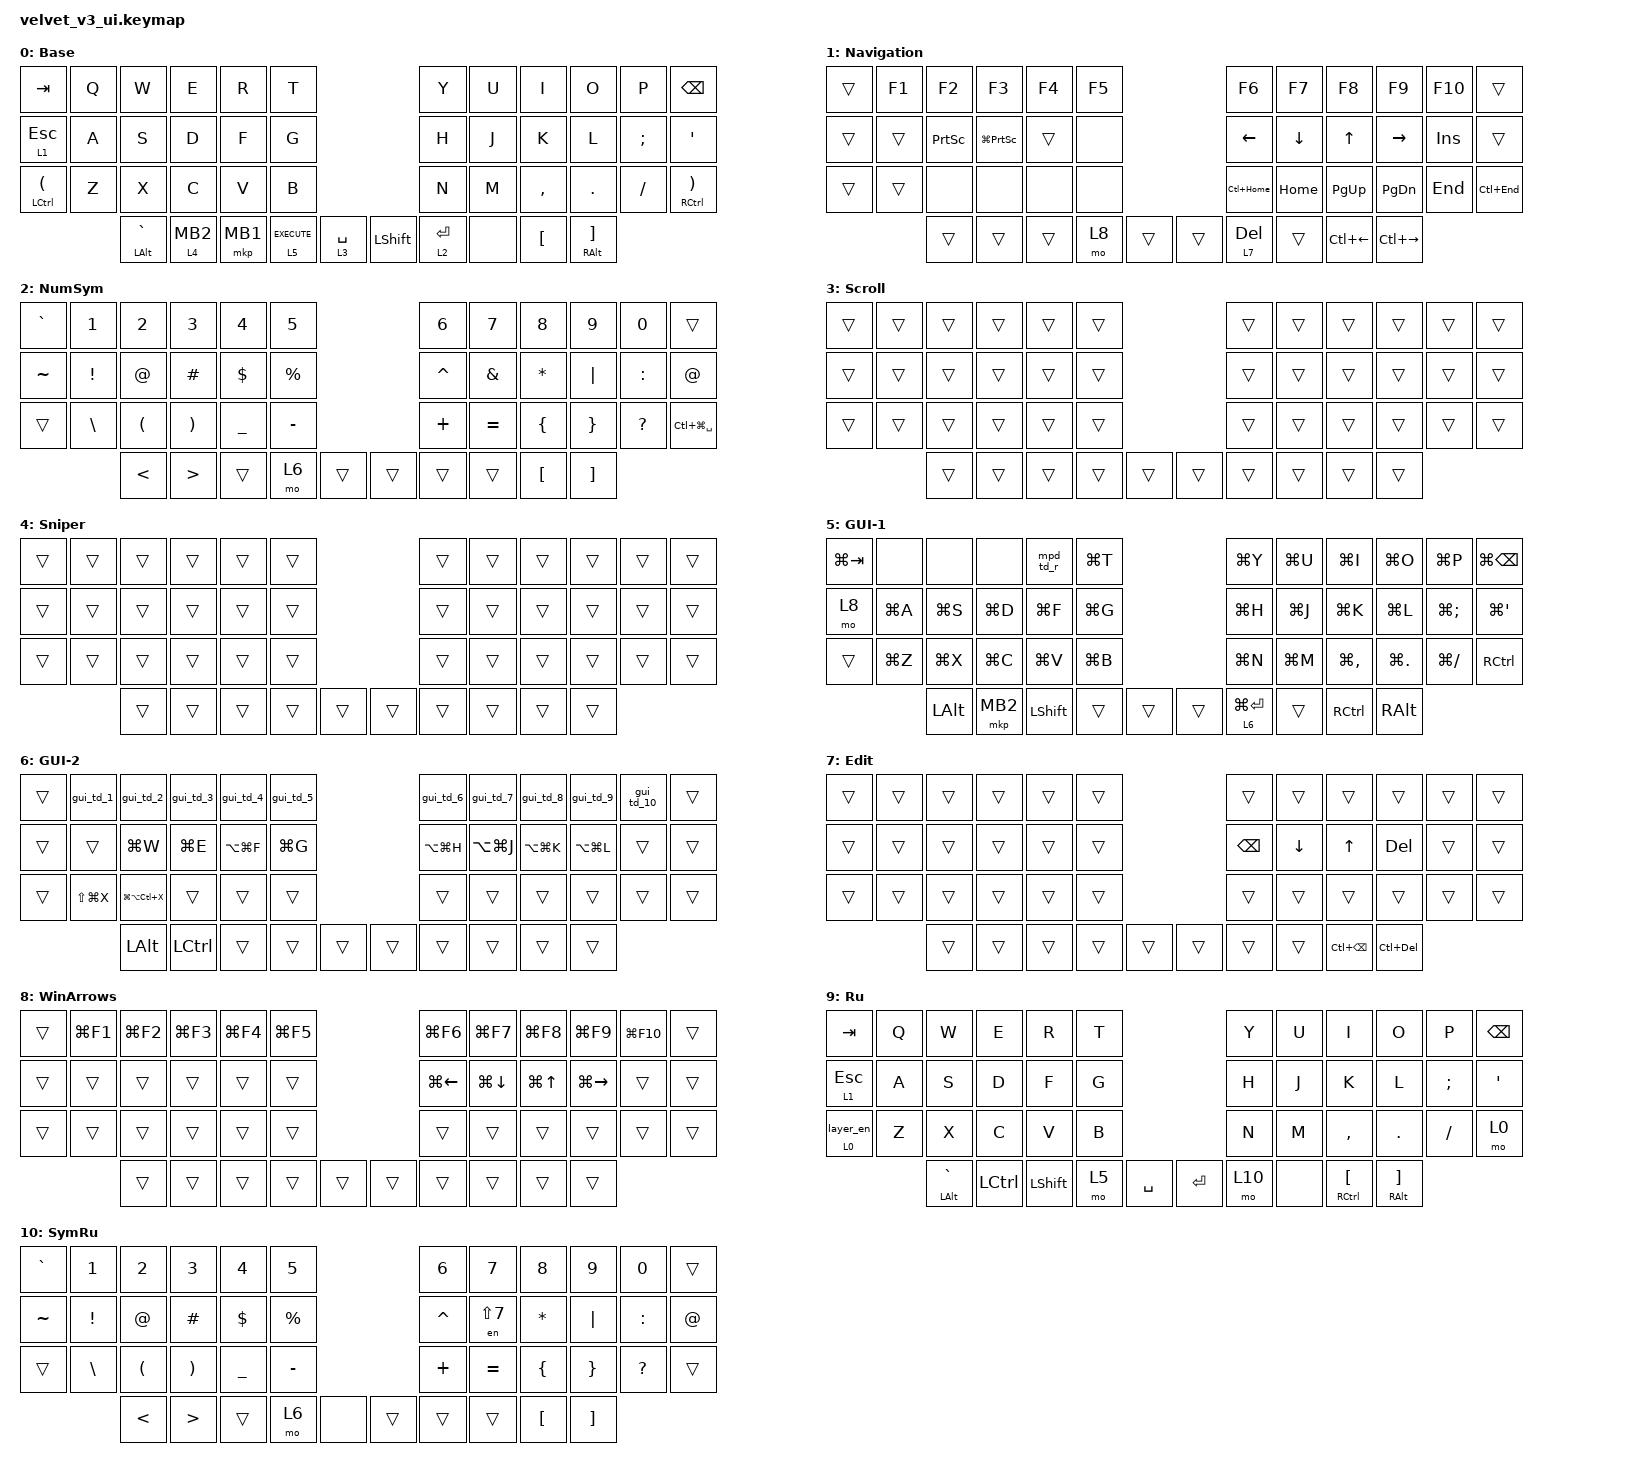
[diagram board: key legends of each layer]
#include "keys_ru.h"
#include <dt-bindings/zmk/input_transform.h>
#include <input/processors.dtsi>
#include <zephyr/dt-bindings/input/input-event-codes.h>
#include <behaviors.dtsi>
#include <dt-bindings/zmk/keys.h>
#include <dt-bindings/zmk/pointing.h>

&mt {
    quick-tap-ms = <200>;
    hold-while-undecided;
    require-prior-idle-ms = <200>;
};

&lt {
    quick-tap-ms = <200>;
    flavor = "hold-preferred";
    hold-while-undecided;
};

&mmv {
    time-to-max-speed-ms = <120>;
    acceleration-exponent = <4>;
};

/ {
    behaviors {
        cap_sen: cap_sen {
            compatible = "zmk,behavior-hold-tap";
            label = "CAP_SEN";
            bindings = <&mo>, <&mkp>;

            #binding-cells = <2>;
            tapping-term-ms = <150>;
            hold-while-undecided;
        };

        gui_td_1: gui_td_1 {
            compatible = "zmk,behavior-tap-dance";
            label = "GUI_TD_1";
            #binding-cells = <0>;
            bindings = <&kp LG(N1)>, <&kp LA(LG(N1))>;
        };

        gui_td_2: gui_td_2 {
            compatible = "zmk,behavior-tap-dance";
            label = "GUI_TD_2";
            #binding-cells = <0>;
            bindings = <&kp LG(NUMBER_2)>, <&kp LA(LG(NUMBER_2))>;
        };

        gui_td_3: gui_td_3 {
            compatible = "zmk,behavior-tap-dance";
            label = "GUI_TD_3";
            #binding-cells = <0>;
            bindings = <&kp LG(NUMBER_3)>, <&kp LA(LG(NUMBER_3))>;
        };

        gui_td_4: gui_td_4 {
            compatible = "zmk,behavior-tap-dance";
            label = "GUI_TD_4";
            #binding-cells = <0>;
            bindings = <&kp LG(NUMBER_4)>, <&kp LA(LG(NUMBER_4))>;
        };

        gui_td_5: gui_td_5 {
            compatible = "zmk,behavior-tap-dance";
            label = "GUI_TD_5";
            #binding-cells = <0>;
            bindings = <&kp LG(NUMBER_5)>, <&kp LA(LG(NUMBER_5))>;
        };

        gui_td_6: gui_td_6 {
            compatible = "zmk,behavior-tap-dance";
            label = "GUI_TD_6";
            #binding-cells = <0>;
            bindings = <&kp LG(NUMBER_6)>, <&kp LA(LG(NUMBER_6))>;
        };

        gui_td_7: gui_td_7 {
            compatible = "zmk,behavior-tap-dance";
            label = "GUI_TD_7";
            #binding-cells = <0>;
            bindings = <&kp LG(N7)>, <&kp LA(LG(N7))>;
        };

        gui_td_8: gui_td_8 {
            compatible = "zmk,behavior-tap-dance";
            label = "GUI_TD_8";
            #binding-cells = <0>;
            bindings = <&kp LG(N8)>, <&kp LA(LG(N8))>;
        };

        gui_td_9: gui_td_9 {
            compatible = "zmk,behavior-tap-dance";
            label = "GUI_TD_9";
            #binding-cells = <0>;
            bindings = <&kp LG(N9)>, <&kp LG(LA(N9))>;
        };

        gui_td_10: gui_td_10 {
            compatible = "zmk,behavior-tap-dance";
            label = "GUI_TD_10";
            #binding-cells = <0>;
            bindings = <&kp LG(N0)>, <&kp LA(LG(N0))>;
        };

        mpd_td_r: mpd_td_r {
            compatible = "zmk,behavior-tap-dance";
            label = "MPD_TD_R";
            #binding-cells = <0>;
            bindings = <&kp LC(LG(R))>, <&kp LA(LC(LG(R)))>;
        };

        lang_switch_ru: lang_switch_ru {
            compatible = "zmk,behavior-hold-tap";
            label = "LANG_SWITCH_RU";
            bindings = <&mo>, <&layer_ru>;

            #binding-cells = <2>;
            tapping-term-ms = <150>;
        };

        lang_switch_en: lang_switch_en {
            compatible = "zmk,behavior-hold-tap";
            label = "LANG_SWITCH_EN";
            bindings = <&mo>, <&layer_en>;

            #binding-cells = <2>;
            tapping-term-ms = <150>;
        };

        mouse_tap: mouse_tap {
            compatible = "zmk,behavior-hold-tap";
            label = "MOUSE_TAP";
            bindings = <&mo>, <&mkp>;

            #binding-cells = <2>;
            tapping-term-ms = <200>;
            flavor = "hold-preferred";
        };

        mouse_sniper: mouse_sniper {
            compatible = "zmk,behavior-hold-tap";
            label = "MOUSE_SNIPER";
            bindings = <&mo>, <&kp>;

            #binding-cells = <2>;
            tapping-term-ms = <200>;
            flavor = "tap-preferred";
            hold-while-undecided;
        };

        rclick_sniper: rclick_sniper {
            compatible = "zmk,behavior-hold-tap";
            label = "RCLICK_SNIPER";
            bindings = <&mo>, <&mkp>;

            #binding-cells = <2>;
            tapping-term-ms = <180>;
        };

        space_scroll: space_scroll {
            compatible = "zmk,behavior-hold-tap";
            label = "SPACE_SCROLL";
            bindings = <&mo>, <&kp>;

            #binding-cells = <2>;
            tapping-term-ms = <200>;
            require-prior-idle-ms = <160>;
            flavor = "tap-preferred";
            quick-tap-ms = <200>;
            hold-while-undecided;
        };
    };

    macros {
        sen_mo: new_macro {
            compatible = "zmk,behavior-macro-one-param";
            #binding-cells = <1>;
            bindings =
                <&macro_wait_time 400>,
                <&macro_press>,
                <&macro_param_1to1 &mo MACRO_PLACEHOLDER>,
                <&macro_pause_for_release>,
                <&macro_release>,
                <&macro_param_1to1 &mo MACRO_PLACEHOLDER>;

            label = "NEW_MACRO";
            wait-ms = <15>;
            tap-ms = <50>;
        };

        to_ru: to_ru {
            compatible = "zmk,behavior-macro";
            #binding-cells = <0>;
            bindings = <&to 9>;
            label = "TO_RU";
        };

        to_en: to_en {
            compatible = "zmk,behavior-macro";
            #binding-cells = <0>;
            bindings = <&to 0>;
            label = "TO_EN";
        };

        layer_ru: layer_ru {
            compatible = "zmk,behavior-macro";
            #binding-cells = <0>;
            bindings = <&to_ru &kp LG(LA(R))>;
            label = "LAYER_RU";
        };

        layer_en: layer_en {
            compatible = "zmk,behavior-macro";
            #binding-cells = <0>;
            bindings = <&to_en &kp LG(LA(E))>;
            label = "LAYER_EN";
        };

        en: en {
            compatible = "zmk,behavior-macro-one-param";
            #binding-cells = <1>;
            bindings =
                <&to_en &macro_param_1to1 &kp MACRO_PLACEHOLDER>,
                <&macro_wait_time 10>,
                <&to_ru>,
                <&macro_wait_time 10>;

            label = "EN";
        };
    };

    combos {
        compatible = "zmk,combos";

        mouse_left_click_2 {
            bindings = <&mkp MB1>;
            key-positions = <19 20>;
        };

        mouse_scroll_2 {
            bindings = <&mo 3>;
            key-positions = <20 21>;
        };

        mouse_right_click_2 {
            bindings = <&mkp MB2>;
            key-positions = <31 32>;
        };

        mouse_sniper {
            bindings = <&mo 4>;
            key-positions = <37 38>;
        };
    };

    keymap {
        compatible = "zmk,keymap";

        base {
            bindings = <
&kp TAB                &kp Q  &kp W               &kp E                 &kp R     &kp T                                                     &kp Y         &kp U  &kp I             &kp O                        &kp P     &kp BSPC
&lt 1 ESC              &kp A  &kp S               &kp D                 &kp F     &kp G                                                     &kp H         &kp J  &kp K             &kp L                        &kp SEMI  &kp APOS
&mt LEFT_CONTROL LPAR  &kp Z  &kp X               &kp C                 &kp V     &kp B                                                     &kp N         &kp M  &kp COMMA         &kp DOT                      &kp FSLH  &mt RIGHT_CONTROL RPAR
                              &mt LEFT_ALT GRAVE  &rclick_sniper 4 MB2  &mkp MB1  &lt 5 K_EXECUTE  &space_scroll 3 SPACE    &kp LEFT_SHIFT  &lt 2 RETURN  &none  &kp LEFT_BRACKET  &mt RIGHT_ALT RIGHT_BRACKET
            >;

            display-name = "Base";
        };

        nav {
            bindings = <
&trans  &kp F1  &kp F2           &kp F3               &kp F4  &kp F5                    &kp F6        &kp F7    &kp F8        &kp F9           &kp F10     &trans
&trans  &trans  &kp PRINTSCREEN  &kp LG(PRINTSCREEN)  &trans  &none                     &kp LEFT      &kp DOWN  &kp UP        &kp RIGHT_ARROW  &kp INSERT  &trans
&trans  &trans  &none            &none                &none   &none                     &kp LC(HOME)  &kp HOME  &kp PG_UP     &kp PAGE_DOWN    &kp END     &kp LC(END)
                &trans           &trans               &trans  &mo 8   &trans    &trans  &lt 7 DELETE  &trans    &kp LC(LEFT)  &kp LC(RIGHT)
            >;

            display-name = "Navigation";
        };

        sym {
            bindings = <
&kp GRAVE  &kp NUMBER_1   &kp NUMBER_2   &kp NUMBER_3      &kp NUMBER_4  &kp NUMBER_5                    &kp N6     &kp N7         &kp N8            &kp N9             &kp N0     &trans
&kp TILDE  &kp EXCL       &kp AT_SIGN    &kp HASH          &kp DOLLAR    &kp PRCNT                       &kp CARET  &kp AMPERSAND  &kp ASTRK         &kp PIPE           &kp COLON  &kp AT_SIGN
&trans     &kp BACKSLASH  &kp LPAR       &kp RPAR          &kp UNDER     &kp MINUS                       &kp PLUS   &kp EQUAL      &kp LEFT_BRACE    &kp RIGHT_BRACE    &kp QMARK  &kp LC(LG(SPACE))
                          &kp LESS_THAN  &kp GREATER_THAN  &trans        &mo 6         &trans    &trans  &trans     &trans         &kp LEFT_BRACKET  &kp RIGHT_BRACKET
            >;

            display-name = "NumSym";
        };

        scroll {
            bindings = <
&trans  &trans  &trans  &trans  &trans  &trans                    &trans  &trans  &trans  &trans  &trans  &trans
&trans  &trans  &trans  &trans  &trans  &trans                    &trans  &trans  &trans  &trans  &trans  &trans
&trans  &trans  &trans  &trans  &trans  &trans                    &trans  &trans  &trans  &trans  &trans  &trans
                &trans  &trans  &trans  &trans  &trans    &trans  &trans  &trans  &trans  &trans
            >;

            display-name = "Scroll";
        };

        sniper {
            bindings = <
&trans  &trans  &trans  &trans  &trans  &trans                    &trans  &trans  &trans  &trans  &trans  &trans
&trans  &trans  &trans  &trans  &trans  &trans                    &trans  &trans  &trans  &trans  &trans  &trans
&trans  &trans  &trans  &trans  &trans  &trans                    &trans  &trans  &trans  &trans  &trans  &trans
                &trans  &trans  &trans  &trans  &trans    &trans  &trans  &trans  &trans  &trans
            >;

            display-name = "Sniper";
        };

        User0 {
            bindings = <
&kp LG(TAB)  &none      &none         &none      &mpd_td_r       &kp LG(T)                    &kp LG(Y)      &kp LG(U)  &kp LG(I)      &kp LG(O)    &kp LG(P)     &kp LG(BACKSPACE)
&mo 8        &kp LG(A)  &kp LG(S)     &kp LG(D)  &kp LG(F)       &kp LG(G)                    &kp LG(H)      &kp LG(J)  &kp LG(K)      &kp LG(L)    &kp LG(SEMI)  &kp LG(SQT)
&trans       &kp LG(Z)  &kp LG(X)     &kp LG(C)  &kp LG(V)       &kp LG(B)                    &kp LG(N)      &kp LG(M)  &kp LG(COMMA)  &kp LG(DOT)  &kp LG(FSLH)  &kp RIGHT_CONTROL
                        &kp LEFT_ALT  &mkp MB2   &kp LEFT_SHIFT  &trans     &trans    &trans  &lt 6 LG(RET)  &trans     &kp RCTRL      &kp RALT
            >;

            display-name = "GUI-1";
        };

        User1 {
            bindings = <
&trans  &gui_td_1      &gui_td_2          &gui_td_3  &gui_td_4      &gui_td_5                    &gui_td_6      &gui_td_7      &gui_td_8      &gui_td_9      &gui_td_10  &trans
&trans  &trans         &kp LG(W)          &kp LG(E)  &kp LA(LG(F))  &kp LG(G)                    &kp LA(LG(H))  &kp LA(LG(J))  &kp LA(LG(K))  &kp LA(LG(L))  &trans      &trans
&trans  &kp LS(LG(X))  &kp LG(LA(LC(X)))  &trans     &trans         &trans                       &trans         &trans         &trans         &trans         &trans      &trans
                       &kp LEFT_ALT       &kp LCTRL  &trans         &trans     &trans    &trans  &trans         &trans         &trans         &trans
            >;

            display-name = "GUI-2";
        };

        User3 {
            bindings = <
&trans  &trans  &trans  &trans  &trans  &trans                    &trans         &trans          &trans             &trans          &trans  &trans
&trans  &trans  &trans  &trans  &trans  &trans                    &kp BACKSPACE  &kp DOWN_ARROW  &kp UP             &kp DELETE      &trans  &trans
&trans  &trans  &trans  &trans  &trans  &trans                    &trans         &trans          &trans             &trans          &trans  &trans
                &trans  &trans  &trans  &trans  &trans    &trans  &trans         &trans          &kp LC(BACKSPACE)  &kp LC(DELETE)
            >;

            display-name = "Edit";
        };

        win_arrows {
            bindings = <
&trans  &kp LG(F1)  &kp LG(F2)  &kp LG(F3)  &kp LG(F4)  &kp LG(F5)                    &kp LG(F6)    &kp LG(F7)    &kp LG(F8)  &kp LG(F9)           &kp LG(F10)  &trans
&trans  &trans      &trans      &trans      &trans      &trans                        &kp LG(LEFT)  &kp LG(DOWN)  &kp LG(UP)  &kp LG(RIGHT_ARROW)  &trans       &trans
&trans  &trans      &trans      &trans      &trans      &trans                        &trans        &trans        &trans      &trans               &trans       &trans
                    &trans      &trans      &trans      &trans      &trans    &trans  &trans        &trans        &trans      &trans
            >;

            label = "WinArrows";
        };

        ru {
            display-name = "Ru";
            bindings = <
&kp TAB              &kp Q  &kp W           &kp E      &kp R           &kp T                        &kp Y   &kp U  &kp I                   &kp O                        &kp P     &kp BSPC
&lt 1 ESC            &kp A  &kp S           &kp D      &kp F           &kp G                        &kp H   &kp J  &kp K                   &kp L                        &kp SEMI  &kp SQT
&lang_switch_en 0 0  &kp Z  &kp X           &kp C      &kp V           &kp B                        &kp N   &kp M  &kp COMMA               &kp DOT                      &kp FSLH  &mo 0
                            &mt LALT GRAVE  &kp LCTRL  &kp LEFT_SHIFT  &mo 5  &kp SPACE    &kp RET  &mo 10  &none  &mt RCTRL LEFT_BRACKET  &mt RIGHT_ALT RIGHT_BRACKET
            >;
        };

        sym_ru {
            display-name = "SymRu";
            bindings = <
&kp GRAVE  &kp NUMBER_1   &kp NUMBER_2   &kp NUMBER_3      &kp NUMBER_4  &kp NUMBER_5                   &kp N6     &kp N7      &kp N8            &kp N9             &kp N0     &trans
&kp TILDE  &kp EXCL       &kp AT_SIGN    &kp HASH          &kp DOLLAR    &kp PRCNT                      &kp CARET  &en LS(N7)  &kp ASTRK         &kp PIPE           &kp COLON  &kp AT_SIGN
&trans     &kp BACKSLASH  &kp LPAR       &kp RPAR          &kp UNDER     &kp MINUS                      &kp PLUS   &kp EQUAL   &kp LEFT_BRACE    &kp RIGHT_BRACE    &kp QMARK  &trans
                          &kp LESS_THAN  &kp GREATER_THAN  &trans        &mo 6         &none    &trans  &trans     &trans      &kp LEFT_BRACKET  &kp RIGHT_BRACKET
            >;
        };
    };

    conditional_layers { compatible = "zmk,conditional-layers"; };
};

&trackball { cpi = <1000>; };

&trackball_listener {
    input-processors = <&zip_xy_scaler 9 20>;

    scroller {
        layers = <3>;
        input-processors =
            <&zip_xy_transform INPUT_TRANSFORM_Y_INVERT>,
            <&zip_xy_scaler 1 32>,
            <&zip_xy_to_scroll_mapper>;
    };

    sniper {
        layers = <4>;
        input-processors = <&zip_xy_scaler 1 10>;
    };
};
